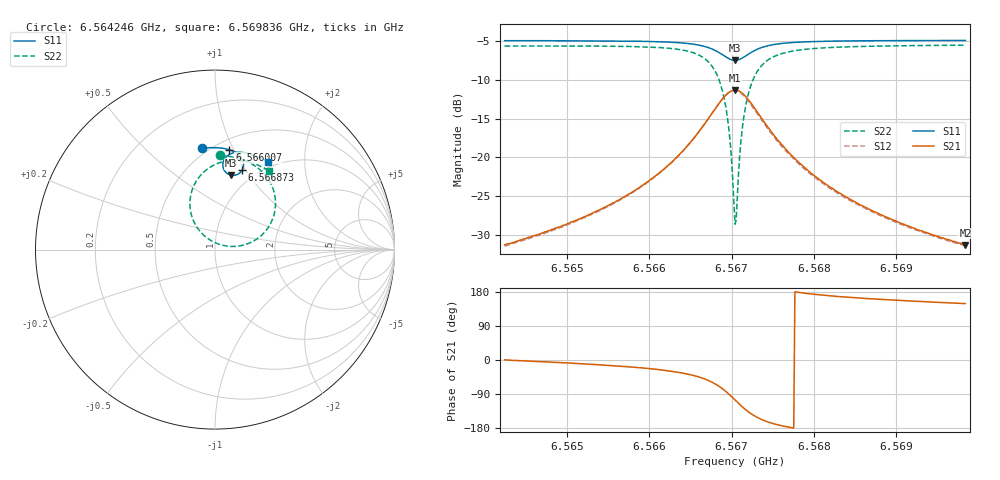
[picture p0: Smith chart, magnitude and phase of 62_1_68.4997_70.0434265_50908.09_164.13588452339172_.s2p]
#  HZ  S  RI  R  50.00
! Rohde & Schwarz Vector Network Analyzer
! Rohde-Schwarz,ZNB20-2Port,1311601062101988,3.16
! Created: UTC 3/20/2024, 5:06:26 PM
! freq[Hz]  re:S11  im:S11  re:S21  im:S21  re:S12  im:S12  re:S22  im:S22
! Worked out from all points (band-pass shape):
!   401 points, 6.564246 GHz to 6.569836 GHz, reference 50 ohm
!   highest |S21| = -11.29 dB at 6.567041 GHz (marker M1); lowest = -31.3 dB at 6.569836 GHz (marker M2)
!   |S21| within 3 dB of the highest: 6.566762 GHz to 6.567322 GHz (559.7 kHz wide, 0.00852 % of centre)
!   lowest |S11| = -7.5 dB at 6.567041 GHz (marker M3), VSWR 2.47, Z = 41 + j41.4 ohm
!   |S11| at or under -10 dB: nowhere
!   |S22| runs from -28.6 to -5.5 dB; largest |S21 - S12| = 0.013
!   S11 on the Smith chart (normalised r, x): 6.564246 GHz: 0.46, +0.77; 6.566007 GHz: 0.59, +0.96; 6.566873 GHz: 0.85, +0.97; 6.569836 GHz: 0.92, +1.33
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6.5642461e9  -0.0714 0.5645  0.0272 0.000155  0.0267 -0.000446  0.0277 0.5244
6.5651824e9  0.00485 0.5678  0.0401 -0.00698  0.0394 -0.00758  0.1152 0.5124
6.566007e9  0.0806 0.5564  0.0658 -0.0277  0.0646 -0.0284  0.2183 0.469
6.5661188e9  0.0921 0.5525  0.0715 -0.0339  0.0704 -0.0348  0.2366 0.4562
6.5664262e9  0.1269 0.5339  0.092 -0.0652  0.0905 -0.0666  0.2952 0.3943
6.5666359e9  0.1509 0.5061  0.1053 -0.1134  0.103 -0.1155  0.3332 0.3016
6.5667756e9  0.1594 0.4732  0.0986 -0.1711  0.0946 -0.1741  0.3283 0.1915
6.5668735e9  0.1511 0.4425  0.0671 -0.2236  0.06 -0.2263  0.2725 0.0931
6.5669573e9  0.1267 0.4195  0.00859 -0.2606  -0.00192 -0.2607  0.1657 0.0272
6.5669853e9  0.1152 0.4151  -0.0172 -0.2664  -0.0282 -0.2649  0.119 0.0183
6.5670272e9  0.0958 0.4136  -0.0586 -0.2658  -0.0699 -0.2611  0.0457 0.0234
6.5670412e9  0.0893 0.4146  -0.0723 -0.2626  -0.0833 -0.2572  0.0216 0.03
6.5670551e9  0.0829 0.4163  -0.0856 -0.2583  -0.0964 -0.2518  -0.00127 0.0392
6.5670691e9  0.0769 0.4188  -0.0986 -0.2528  -0.1087 -0.2454  -0.0233 0.0508
6.567111e9  0.061 0.4296  -0.1322 -0.2294  -0.14 -0.2199  -0.0785 0.096
6.567153e9  0.0502 0.4442  -0.1561 -0.1997  -0.1614 -0.189  -0.1157 0.1509
6.5672089e9  0.0439 0.4653  -0.173 -0.1578  -0.1751 -0.1473  -0.1381 0.2261
6.5672787e9  0.0459 0.489  -0.1758 -0.1116  -0.1751 -0.1026  -0.1345 0.3067
6.5675303e9  0.0842 0.5326  -0.1332 -0.0248  -0.1305 -0.0209  -0.038 0.4516
6.5679775e9  0.145 0.5423  -0.0777 0.00826  -0.076 0.00948  0.0902 0.4971
6.5689139e9  0.2307 0.5205  -0.0376 0.0148  -0.0367 0.015  0.2198 0.478
6.5698362e9  0.298 0.4869  -0.0233 0.0141  -0.0227 0.0142  0.2988 0.4405
